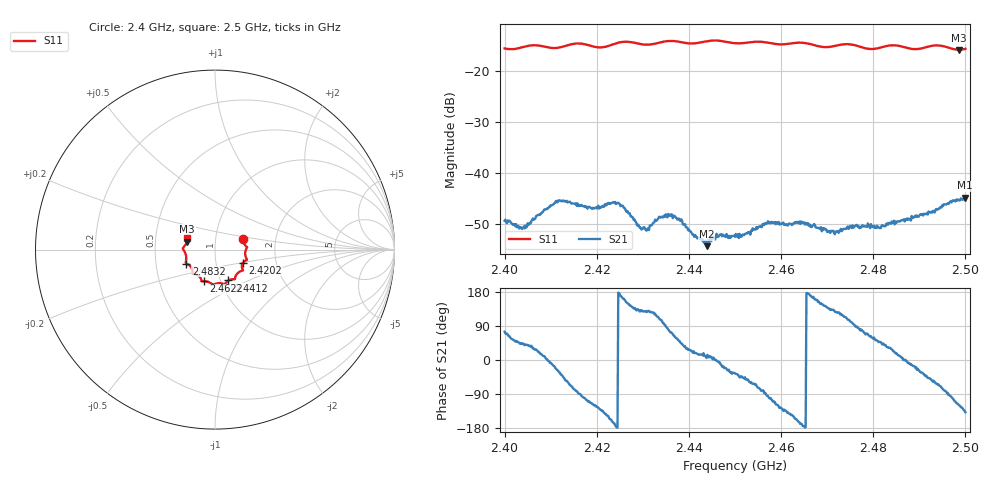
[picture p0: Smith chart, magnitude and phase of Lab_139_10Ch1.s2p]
# Hz S RI R 50
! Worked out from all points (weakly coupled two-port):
!   601 points, 2.4 GHz to 2.5 GHz, reference 50 ohm
!   highest |S21| = -44.83 dB at 2.4998 GHz (marker M1); lowest = -54.3 dB at 2.4438 GHz (marker M2)
!   lowest |S11| = -15.8 dB at 2.4987 GHz (marker M3), VSWR 1.39, Z = 36.4 + j3.35 ohm
!   |S11| at or under -10 dB: start of sweep to end of sweep
!   S12 and S22 are empty: the file has one direction only
!   S11 on the Smith chart (normalised r, x): 2.4 GHz: 1.36, +0.17; 2.4202 GHz: 1.35, -0.20; 2.4412 GHz: 1.09, -0.39; 2.4622 GHz: 0.83, -0.30; 2.4832 GHz: 0.72, -0.12; 2.5 GHz: 0.73, +0.09
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2.4e9  0.1565 0.0595  0.000893 0.00329  0 0  0 0
2.404167e9  0.1724 0.019  0.00221 0.00201  0 0  0 0
2.411667e9  0.1681 -0.027  0.00468 -0.00268  0 0  0 0
2.416667e9  0.1772 -0.0582  -0.000393 -0.00487  0 0  0 0
2.420167e9  0.1559 -0.0725  -0.00261 -0.00385  0 0  0 0
2.4245e9  0.1545 -0.1103  -0.00509 -0.000131  0 0  0 0
2.430333e9  0.131 -0.1272  -0.00182 0.00231  0 0  0 0
2.433333e9  0.1131 -0.1523  -0.00144 0.00327  0 0  0 0
2.436667e9  0.1091 -0.1652  0.00164 0.00344  0 0  0 0
2.441167e9  0.075 -0.1721  0.00225 0.00074  0 0  0 0
2.443833e9  0.0578 -0.1884  0.00191 0.000173  0 0  0 0
2.4465e9  0.0501 -0.193  0.00239 -0.00026  0 0  0 0
2.45e9  0.026 -0.1865  0.00194 -0.00137  0 0  0 0
2.457e9  -0.0189 -0.1904  -0.000236 -0.00322  0 0  0 0
2.462167e9  -0.0633 -0.1766  -0.00261 -0.0018  0 0  0 0
2.466667e9  -0.0767 -0.1664  -0.00287 0.000713  0 0  0 0
2.472e9  -0.115 -0.1368  -0.00158 0.00214  0 0  0 0
2.483167e9  -0.1598 -0.0781  0.00258 0.00173  0 0  0 0
2.483333e9  -0.1605 -0.0778  0.00274 0.0017  0 0  0 0
2.498667e9  -0.1559 0.0449  -0.00268 -0.00467  0 0  0 0
2.499833e9  -0.1536 0.0608  -0.00397 -0.00413  0 0  0 0
2.5e9  -0.1534 0.0631  -0.00419 -0.0038  0 0  0 0
